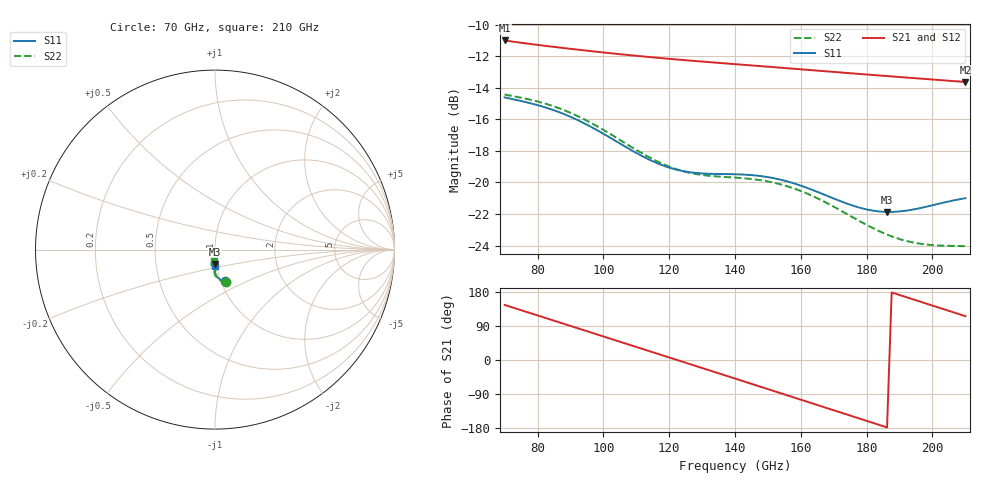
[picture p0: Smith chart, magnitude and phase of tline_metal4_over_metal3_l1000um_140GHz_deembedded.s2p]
! Created with skrf 2.0.1 (http://scikit-rf.org).
# GHz S DB R 50.0
!freq dBS11 angS11 dBS21 angS21 dBS12 angS12 dBS22 angS22
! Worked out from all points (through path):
!   101 points, 70 GHz to 210 GHz, reference 50 ohm
!   highest |S21| = -11.00 dB at 70 GHz (marker M1); lowest = -13.6 dB at 210 GHz (marker M2)
!   group delay of S21, straight-line fit = 7.73 ps
!   lowest |S11| = -21.9 dB at 186.2 GHz (marker M3), VSWR 1.18, Z = 49.2 - j7.99 ohm
!   |S11| at or under -10 dB: start of sweep to end of sweep
!   |S22| runs from -24.0 to -14.4 dB; largest |S21 - S12| = 3e-13
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70  -14.61 -72.5  -11.00 145.3  -11.00 145.3  -14.43 -71.1
77  -14.94 -75.4  -11.20 126.0  -11.20 126.0  -14.72 -74.4
82.6  -15.26 -78.5  -11.35 110.5  -11.35 110.5  -15.02 -77.8
88.2  -15.68 -81.8  -11.49 94.9  -11.49 94.9  -15.43 -81.5
93.8  -16.21 -84.9  -11.62 79.4  -11.62 79.4  -15.96 -85.1
99.4  -16.84 -87.5  -11.75 63.8  -11.75 63.8  -16.60 -88.2
106.4  -17.70 -89.3  -11.90 44.4  -11.90 44.4  -17.48 -90.8
112  -18.35 -89.6  -12.02 28.9  -12.02 28.9  -18.18 -91.7
117.6  -18.89 -88.9  -12.12 13.4  -12.12 13.4  -18.78 -91.5
123.2  -19.24 -87.7  -12.22 -2.2  -12.22 -2.2  -19.23 -90.9
128.8  -19.41 -86.8  -12.32 -17.7  -12.32 -17.7  -19.49 -90.3
140  -19.48 -87.4  -12.50 -48.9  -12.50 -48.9  -19.69 -91.3
147  -19.58 -89.5  -12.62 -68.5  -12.62 -68.5  -19.84 -93.7
152.6  -19.77 -91.6  -12.71 -84.1  -12.71 -84.1  -20.06 -96.3
158.2  -20.08 -93.5  -12.80 -99.7  -12.80 -99.7  -20.40 -99.1
163.8  -20.50 -95.0  -12.89 -115.4  -12.89 -115.4  -20.88 -101.6
175  -21.41 -94.8  -13.08 -146.6  -13.08 -146.6  -22.12 -104.3
180.6  -21.74 -93.2  -13.17 -162.3  -13.17 -162.3  -22.76 -104.0
186.2  -21.87 -91.1  -13.26 -177.9  -13.26 -177.9  -23.30 -102.7
187.6  -21.87 -90.6  -13.28 178.2  -13.28 178.2  -23.42 -102.2
197.4  -21.57 -88.4  -13.44 150.9  -13.44 150.9  -23.92 -98.8
210  -21.00 -90.4  -13.64 115.7  -13.64 115.7  -24.04 -96.3
